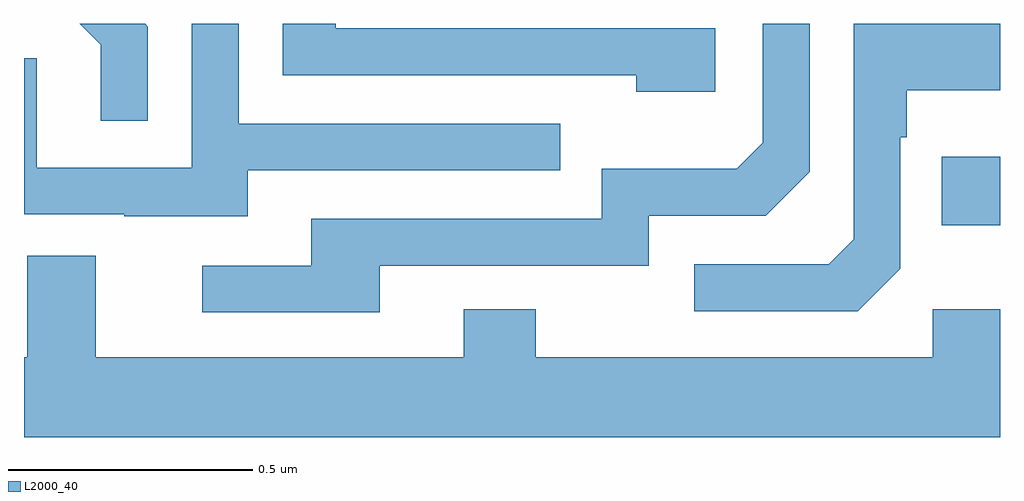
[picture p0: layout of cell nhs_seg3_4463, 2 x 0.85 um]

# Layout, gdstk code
import gdstk
lib = gdstk.Library(unit=1e-6, precision=1e-09)
def R(c, l, rs):  # rectangles x0, y0, x1, y1
    for r in rs: c.add(gdstk.rectangle(r[:2], r[2:], *l))
def P(c, l, *ps):  # polygons
    for p in ps: c.add(gdstk.Polygon(p, *l))
L2000_40 = (2000, 40)

nhs_seg3_4463 = lib.new_cell('nhs_seg3_4463')
R(nhs_seg3_4463, L2000_40, [(167.881,731.987,168,732.127)])
P(nhs_seg3_4463, L2000_40, [(167.416,732.39),(166.639,732.39),(166.639,732.4),(166.53,732.4),(166.53,732.294),(167.255,732.294),(167.255,732.26),(167.416,732.26)],
  [(166.254,732.394),(166.248,732.4),(166.114,732.4),(166.157,732.357),(166.157,732.201),(166.254,732.201)],
  [(166.459,732.099),(167.099,732.099),(167.099,732.195),(166.44,732.195),(166.44,732.4),(166.344,732.4),(166.344,732.105),(166.026,732.105),(166.026,732.329),(166,732.329),(166,732.009),(166.205,732.009),(166.205,732.005),(166.459,732.005)],
  [(167.796,731.898),(167.796,732.167),(167.809,732.167),(167.809,732.263),(168,732.263),(168,732.4),(167.7,732.4),(167.7,731.958),(167.649,731.907),(167.373,731.907),(167.373,731.811),(167.709,731.811)],
  [(166.729,731.904),(167.28,731.904),(167.28,732.006),(167.52,732.006),(167.61,732.096),(167.61,732.4),(167.514,732.4),(167.514,732.156),(167.461,732.103),(167.184,732.103),(167.184,732),(166.589,732),(166.589,731.904),(166.365,731.904),(166.365,731.808),(166.729,731.808)],
  [(168,731.815),(167.862,731.815),(167.862,731.716),(167.049,731.716),(167.049,731.815),(166.901,731.815),(166.901,731.716),(166.147,731.716),(166.147,731.924),(166.007,731.924),(166.007,731.716),(166,731.716),(166,731.552),(168,731.552)])

lib.write_gds('nhs_seg3_4463.gds')
